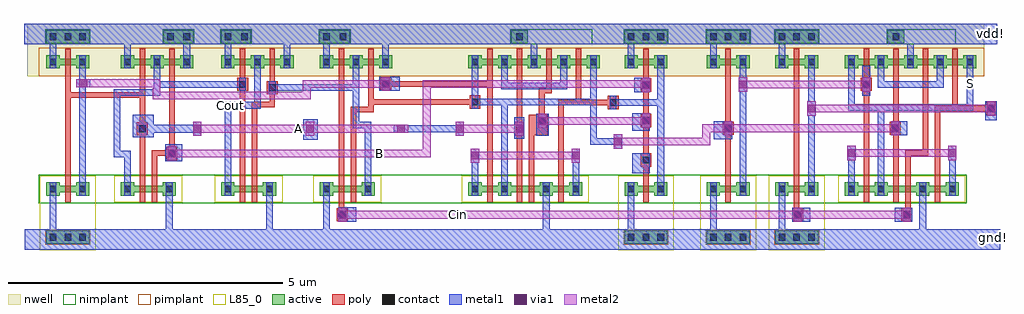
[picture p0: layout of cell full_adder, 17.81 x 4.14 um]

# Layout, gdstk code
from math import pi, radians
import gdstk
lib = gdstk.Library(unit=1e-6, precision=5e-10)
def R(c, l, rs):  # rectangles x0, y0, x1, y1
    for r in rs: c.add(gdstk.rectangle(r[:2], r[2:], *l))
def A(c, l, x, y, w, h, nx, ny, dx, dy):  # array of equal rectangles
    R(c, l, [(x+i*dx, y+j*dy, x+i*dx+w, y+j*dy+h) for i in range(nx) for j in range(ny)])
active = (1, 0)
nwell = (2, 0)
poly = (3, 0)
nimplant = (4, 0)
pimplant = (5, 0)
contact = (6, 0)
metal1 = (7, 0)
via1 = (8, 0)
metal2 = (9, 0)
L85_0 = (85, 0)

pmos1v_0 = lib.new_cell('pmos1v_0')
A(pmos1v_0, active, -0.1, 0, 0.1, 0.12, 3, 1, 0.1, 0)
R(pmos1v_0, active, [(-0.34,-0.06,-0.1,0.18), (0.2,-0.06,0.44,0.18)])
R(pmos1v_0, nwell, [(-0.46,-0.18,0.56,0.3)])
R(pmos1v_0, poly, [(0,-0.18,0.1,-0.16), (0,-0.16,0.1,0), (0,0,0.1,0.12), (0,0.12,0.1,0.28), (0,0.28,0.1,0.3)])
R(pmos1v_0, pimplant, [(-0.48,-0.2,0.58,0.32), (-0.18,-0.18,0.28,0.3)])
R(pmos1v_0, contact, [(-0.28,0,-0.16,0.12), (0.26,0,0.38,0.12)])
R(pmos1v_0, metal1, [(-0.28,-0.06,-0.16,0.18), (0.26,-0.06,0.38,0.18)])

nmos1v_1 = lib.new_cell('nmos1v_1')
R(nmos1v_1, active, [(0.2,-0.06,0.44,0.18), (-0.06,0,0,0.12), (0,0,0.1,0.12), (0.1,0,0.2,0.12)])
R(nmos1v_1, poly, [(0,-0.18,0.1,-0.16), (0,-0.16,0.1,0), (0,0,0.1,0.12), (0,0.12,0.1,0.28), (0,0.28,0.1,0.3)])
R(nmos1v_1, nimplant, [(-0.2,-0.2,0.58,0.32), (-0.18,-0.18,0.28,0.3)])
R(nmos1v_1, contact, [(0.26,0,0.38,0.12)])
R(nmos1v_1, metal1, [(0.26,-0.06,0.38,0.18)])
R(nmos1v_1, L85_0, [(-0.18,-0.18,0.56,0.3)])

pmos1v_2 = lib.new_cell('pmos1v_2')
A(pmos1v_2, active, -0.1, 0, 0.1, 0.12, 3, 1, 0.1, 0)
R(pmos1v_2, active, [(-0.34,-0.06,-0.1,0.18), (-0.34,0.4,0.2,0.64)])
R(pmos1v_2, nwell, [(-0.46,-0.18,0.32,0.76)])
R(pmos1v_2, poly, [(0,-0.18,0.1,-0.16), (0,-0.16,0.1,0), (0,0,0.1,0.12), (0,0.12,0.1,0.28), (0,0.28,0.1,0.3)])
R(pmos1v_2, nimplant, [(-0.36,0.38,0.22,0.66)])
R(pmos1v_2, pimplant, [(-0.48,-0.2,0.34,0.32), (-0.18,-0.18,0.28,0.3)])
R(pmos1v_2, contact, [(-0.28,0,-0.16,0.12), (-0.28,0.46,-0.16,0.58), (0.02,0.46,0.14,0.58)])
R(pmos1v_2, metal1, [(-0.28,-0.06,-0.16,0.18), (-0.34,0.46,0.2,0.58)])

pmos1v_3 = lib.new_cell('pmos1v_3')
A(pmos1v_3, active, -0.1, 0, 0.1, 0.12, 3, 1, 0.1, 0)
R(pmos1v_3, active, [(-0.34,-0.06,-0.1,0.18), (0.2,-0.06,0.44,0.18), (-0.34,0.4,0.44,0.64)])
R(pmos1v_3, nwell, [(-0.46,-0.18,0.56,0.76)])
R(pmos1v_3, poly, [(0,-0.18,0.1,-0.16), (0,-0.16,0.1,0), (0,0,0.1,0.12), (0,0.12,0.1,0.28), (0,0.28,0.1,0.3)])
R(pmos1v_3, nimplant, [(-0.36,0.38,0.46,0.66)])
R(pmos1v_3, pimplant, [(-0.48,-0.2,0.58,0.32), (-0.18,-0.18,0.28,0.3)])
A(pmos1v_3, contact, -0.28, 0.46, 0.12, 0.12, 3, 1, 0.27, 0)
R(pmos1v_3, contact, [(-0.28,0,-0.16,0.12), (0.26,0,0.38,0.12)])
R(pmos1v_3, metal1, [(-0.28,-0.06,-0.16,0.18), (0.26,-0.06,0.38,0.18), (-0.34,0.46,0.44,0.58)])

nmos1v_4 = lib.new_cell('nmos1v_4')
R(nmos1v_4, active, [(-0.34,-0.06,-0.1,0.18), (-0.1,0,0,0.12), (0,0,0.1,0.12), (0.1,0,0.16,0.12)])
R(nmos1v_4, poly, [(0,-0.18,0.1,-0.16), (0,-0.16,0.1,0), (0,0,0.1,0.12), (0,0.12,0.1,0.28), (0,0.28,0.1,0.3)])
R(nmos1v_4, nimplant, [(-0.48,-0.2,0.3,0.32), (-0.18,-0.18,0.28,0.3)])
R(nmos1v_4, contact, [(-0.28,0,-0.16,0.12)])
R(nmos1v_4, metal1, [(-0.28,-0.06,-0.16,0.18)])
R(nmos1v_4, L85_0, [(-0.46,-0.18,0.28,0.3)])

nmos1v_5 = lib.new_cell('nmos1v_5')
A(nmos1v_5, active, -0.1, 0, 0.1, 0.12, 3, 1, 0.1, 0)
R(nmos1v_5, active, [(-0.34,-0.94,0.44,-0.7), (-0.34,-0.06,-0.1,0.18), (0.2,-0.06,0.44,0.18)])
R(nmos1v_5, poly, [(0,-0.18,0.1,-0.16), (0,-0.16,0.1,0), (0,0,0.1,0.12), (0,0.12,0.1,0.28), (0,0.28,0.1,0.3)])
R(nmos1v_5, nimplant, [(-0.48,-0.2,0.58,0.32), (-0.18,-0.18,0.28,0.3)])
R(nmos1v_5, pimplant, [(-0.36,-0.96,0.46,-0.68)])
A(nmos1v_5, contact, -0.28, -0.88, 0.12, 0.12, 3, 1, 0.27, 0)
R(nmos1v_5, contact, [(-0.28,0,-0.16,0.12), (0.26,0,0.38,0.12)])
R(nmos1v_5, metal1, [(-0.34,-0.88,0.44,-0.76), (-0.28,-0.06,-0.16,0.18), (0.26,-0.06,0.38,0.18)])
R(nmos1v_5, L85_0, [(-0.46,-1.06,0.56,0.3)])

pmos1v_6 = lib.new_cell('pmos1v_6')
A(pmos1v_6, active, -0.1, 0, 0.1, 0.12, 3, 1, 0.1, 0)
R(pmos1v_6, active, [(-0.34,-0.06,-0.1,0.18), (0.2,-0.06,0.44,0.18)])
R(pmos1v_6, nwell, [(-0.46,-0.18,0.56,0.3)])
R(pmos1v_6, poly, [(0,-0.18,0.1,-0.16), (0,-0.16,0.1,0), (0,0,0.1,0.12), (0,0.12,0.1,0.28), (0,0.28,0.1,0.3)])
R(pmos1v_6, pimplant, [(-0.48,-0.2,0.58,0.32), (-0.18,-0.18,0.28,0.3)])
R(pmos1v_6, contact, [(-0.28,0,-0.16,0.12), (0.26,0,0.38,0.12)])
R(pmos1v_6, metal1, [(-0.28,-0.06,-0.16,0.18), (0.26,-0.06,0.38,0.18)])

pmos1v_7 = lib.new_cell('pmos1v_7')
A(pmos1v_7, active, -0.1, 0, 0.1, 0.12, 3, 1, 0.1, 0)
R(pmos1v_7, active, [(-0.1,0.4,0.2,0.64)])
R(pmos1v_7, nwell, [(-0.22,-0.18,0.32,0.76)])
R(pmos1v_7, poly, [(0,-0.18,0.1,-0.16), (0,-0.16,0.1,0), (0,0,0.1,0.12), (0,0.12,0.1,0.28), (0,0.28,0.1,0.3)])
R(pmos1v_7, nimplant, [(-0.12,0.38,0.22,0.66)])
R(pmos1v_7, pimplant, [(-0.24,-0.2,0.34,0.32), (-0.18,-0.18,0.28,0.3)])
R(pmos1v_7, contact, [(-0.01,0.46,0.11,0.58)])
R(pmos1v_7, metal1, [(-0.1,0.46,0.2,0.58)])

nmos1v_8 = lib.new_cell('nmos1v_8')
R(nmos1v_8, active, [(-0.34,-0.06,-0.1,0.18), (-0.1,0,0,0.12), (0,0,0.1,0.12), (0.1,0,0.16,0.12)])
R(nmos1v_8, poly, [(0,-0.18,0.1,-0.16), (0,-0.16,0.1,0), (0,0,0.1,0.12), (0,0.12,0.1,0.28), (0,0.28,0.1,0.3)])
R(nmos1v_8, nimplant, [(-0.48,-0.2,0.3,0.32), (-0.18,-0.18,0.28,0.3)])
R(nmos1v_8, contact, [(-0.28,0,-0.16,0.12)])
R(nmos1v_8, metal1, [(-0.28,-0.06,-0.16,0.18)])
R(nmos1v_8, L85_0, [(-0.46,-0.18,0.28,0.3)])

nmos1v_9 = lib.new_cell('nmos1v_9')
R(nmos1v_9, active, [(-0.34,-0.06,-0.1,0.18), (-0.1,0,0,0.12), (0,0,0.1,0.12), (0.1,0,0.16,0.12)])
R(nmos1v_9, poly, [(0,-0.18,0.1,-0.16), (0,-0.16,0.1,0), (0,0,0.1,0.12), (0,0.12,0.1,0.28), (0,0.28,0.1,0.3)])
R(nmos1v_9, nimplant, [(-0.48,-0.2,0.3,0.32), (-0.18,-0.18,0.28,0.3)])
R(nmos1v_9, contact, [(-0.28,0,-0.16,0.12)])
R(nmos1v_9, metal1, [(-0.28,-0.06,-0.16,0.18)])
R(nmos1v_9, L85_0, [(-0.46,-0.18,0.28,0.3)])

pmos1v_10 = lib.new_cell('pmos1v_10')
A(pmos1v_10, active, -0.1, 0, 0.1, 0.12, 3, 1, 0.1, 0)
R(pmos1v_10, active, [(-0.34,-0.06,-0.1,0.18), (0.2,-0.06,0.44,0.18)])
R(pmos1v_10, nwell, [(-0.46,-0.18,0.56,0.3)])
R(pmos1v_10, poly, [(0,-0.18,0.1,-0.16), (0,-0.16,0.1,0), (0,0,0.1,0.12), (0,0.12,0.1,0.28), (0,0.28,0.1,0.3)])
R(pmos1v_10, pimplant, [(-0.48,-0.2,0.58,0.32), (-0.18,-0.18,0.28,0.3)])
R(pmos1v_10, contact, [(-0.28,0,-0.16,0.12), (0.26,0,0.38,0.12)])
R(pmos1v_10, metal1, [(-0.28,-0.06,-0.16,0.18), (0.26,-0.06,0.38,0.18)])

pmos1v_11 = lib.new_cell('pmos1v_11')
A(pmos1v_11, active, -0.1, 0, 0.1, 0.12, 3, 1, 0.1, 0)
R(pmos1v_11, active, [(0.2,-0.06,0.44,0.18)])
R(pmos1v_11, nwell, [(-0.22,-0.18,0.56,0.3)])
R(pmos1v_11, poly, [(0,-0.18,0.1,-0.16), (0,-0.16,0.1,0), (0,0,0.1,0.12), (0,0.12,0.1,0.28), (0,0.28,0.1,0.3)])
R(pmos1v_11, pimplant, [(-0.24,-0.2,0.58,0.32), (-0.18,-0.18,0.28,0.3)])
R(pmos1v_11, contact, [(0.26,0,0.38,0.12)])
R(pmos1v_11, metal1, [(0.26,-0.06,0.38,0.18)])

pmos1v_12 = lib.new_cell('pmos1v_12')
A(pmos1v_12, active, -0.1, 0, 0.1, 0.12, 3, 1, 0.1, 0)
R(pmos1v_12, active, [(-0.34,-0.06,-0.1,0.18), (0.2,-0.06,0.44,0.18)])
R(pmos1v_12, nwell, [(-0.46,-0.18,0.56,0.3)])
R(pmos1v_12, poly, [(0,-0.18,0.1,-0.16), (0,-0.16,0.1,0), (0,0,0.1,0.12), (0,0.12,0.1,0.28), (0,0.28,0.1,0.3)])
R(pmos1v_12, pimplant, [(-0.48,-0.2,0.58,0.32), (-0.18,-0.18,0.28,0.3)])
R(pmos1v_12, contact, [(-0.28,0,-0.16,0.12), (0.26,0,0.38,0.12)])
R(pmos1v_12, metal1, [(-0.28,-0.06,-0.16,0.18), (0.26,-0.06,0.38,0.18)])

nmos1v_13 = lib.new_cell('nmos1v_13')
A(nmos1v_13, active, -0.1, 0, 0.1, 0.12, 3, 1, 0.1, 0)
R(nmos1v_13, active, [(-0.34,-0.06,-0.1,0.18)])
R(nmos1v_13, poly, [(0,-0.18,0.1,-0.16), (0,-0.16,0.1,0), (0,0,0.1,0.12), (0,0.12,0.1,0.28), (0,0.28,0.1,0.3)])
R(nmos1v_13, nimplant, [(-0.48,-0.2,0.34,0.32), (-0.18,-0.18,0.28,0.3)])
R(nmos1v_13, contact, [(-0.28,0,-0.16,0.12)])
R(nmos1v_13, metal1, [(-0.28,-0.06,-0.16,0.18)])
R(nmos1v_13, L85_0, [(-0.46,-0.18,0.32,0.3)])

nmos1v_14 = lib.new_cell('nmos1v_14')
A(nmos1v_14, active, -0.1, 0, 0.1, 0.12, 3, 1, 0.1, 0)
R(nmos1v_14, active, [(0.2,-0.06,0.44,0.18)])
R(nmos1v_14, poly, [(0,-0.18,0.1,-0.16), (0,-0.16,0.1,0), (0,0,0.1,0.12), (0,0.12,0.1,0.28), (0,0.28,0.1,0.3)])
R(nmos1v_14, nimplant, [(-0.24,-0.2,0.58,0.32), (-0.18,-0.18,0.28,0.3)])
R(nmos1v_14, contact, [(0.26,0,0.38,0.12)])
R(nmos1v_14, metal1, [(0.26,-0.06,0.38,0.18)])
R(nmos1v_14, L85_0, [(-0.22,-0.18,0.56,0.3)])

nmos1v_15 = lib.new_cell('nmos1v_15')
R(nmos1v_15, active, [(0.2,-0.06,0.44,0.18), (-0.06,0,0,0.12), (0,0,0.1,0.12), (0.1,0,0.2,0.12)])
R(nmos1v_15, poly, [(0,-0.18,0.1,-0.16), (0,-0.16,0.1,0), (0,0,0.1,0.12), (0,0.12,0.1,0.28), (0,0.28,0.1,0.3)])
R(nmos1v_15, nimplant, [(-0.2,-0.2,0.58,0.32), (-0.18,-0.18,0.28,0.3)])
R(nmos1v_15, contact, [(0.26,0,0.38,0.12)])
R(nmos1v_15, metal1, [(0.26,-0.06,0.38,0.18)])
R(nmos1v_15, L85_0, [(-0.18,-0.18,0.56,0.3)])

m2_m1v_0 = lib.new_cell('M2_M1v_0')
R(m2_m1v_0, metal1, [(-0.075,-0.13,0.075,0.13)])
R(m2_m1v_0, via1, [(-0.07,-0.07,0.07,0.07)])
R(m2_m1v_0, metal2, [(-0.075,-0.13,0.075,0.13)])

m1_pov_1 = lib.new_cell('M1_POv_1')
R(m1_pov_1, poly, [(-0.1,-0.12,0.1,0.12)])
R(m1_pov_1, contact, [(-0.06,-0.06,0.06,0.06)])
R(m1_pov_1, metal1, [(-0.06,-0.12,0.06,0.12)])

full_adder = lib.new_cell('full_adder')
R(full_adder, nwell, [(-11.87,-2.36,5.59,-1.4), (-11.66,-2.36,5.3,-1.84)])
R(full_adder, poly, [(-6.19,-4.93,-6.09,-4.16), (2.12,-4.93,2.22,-4.44), (4.15,-4.93,4.25,-4.39), (-6.19,-4.68,-6.09,-1.86), (-11.18,-4.66,-11.08,-1.86), (-9.82,-4.66,-9.72,-1.86), (-9.6,-4.66,-9.5,-3.71), (-7.99,-4.66,-7.89,-1.86), (-7.77,-4.66,-7.67,-2.83), (-5.97,-4.66,-5.87,-2.92), (-3.48,-4.66,-3.38,-1.86), (-2.94,-4.66,-2.84,-1.86), (-2.72,-4.66,-2.62,-3.11), (-2.18,-4.66,-2.08,-2.79), (-0.63,-4.66,-0.53,-1.86), (0.87,-4.66,0.97,-1.86), (2.12,-4.66,2.22,-1.86), (3.39,-4.66,3.49,-1.86), (3.93,-4.66,4.03,-1.86), (4.15,-4.66,4.25,-3.71), (4.69,-4.66,4.79,-2.9), (-9.6,-3.81,-9.18,-3.71), (-9.28,-3.81,-9.18,-1.86), (4.15,-3.81,4.57,-3.71), (4.47,-3.81,4.57,-1.86), (-2.72,-3.44,-2.37,-3.06), (-2.72,-3.44,-2.57,-3.25), (-2.72,-3.25,-2.4,-3.11), (-2.54,-3.25,-2.43,-2.57), (-5.97,-3.02,-5.55,-2.92), (-5.65,-3.02,-5.55,-1.86), (4.69,-3,5.79,-2.9), (5.01,-3,5.11,-1.86), (-7.77,-2.93,-7.35,-2.83), (-7.45,-2.93,-7.35,-1.86), (-2.18,-2.89,-1.12,-2.79), (-1.86,-2.89,-1.76,-1.86), (-5.65,-2.88,-3.64,-2.78), (-11.18,-2.75,-9.72,-2.65), (-2.54,-2.67,-2.3,-2.57), (-2.4,-2.67,-2.3,-1.86), (-5.39,-2.55,-3.38,-2.45)])
R(full_adder, nimplant, [(-11.66,-4.68,5.27,-4.16), (-3.06,-1.78,-1.56,-1.5), (3.81,-1.78,5.07,-1.5)])
R(full_adder, pimplant, [(-11.66,-2.36,4.39,-1.84)])
R(full_adder, metal1, [(-11.92,-5.53,5.88,-5.15), (-9.34,-5.42,-9.22,-4.31), (-7.51,-5.42,-7.39,-4.3), (-6.47,-5.42,-6.35,-4.3), (-2.46,-5.42,-2.34,-4.3), (4.41,-5.42,4.53,-4.3), (5.71,-5.34,5.83,-5.22), (-11.46,-5.24,-11.34,-4.82), (-0.91,-5.24,-0.79,-4.3), (0.59,-5.24,0.71,-4.3), (1.84,-5.24,1.96,-4.3), (-6.2,-5.02,-5.87,-4.75), (2.09,-5.02,2.42,-4.76), (3.96,-5.02,4.28,-4.76), (-11.46,-4.94,-11.34,-4.3), (2.11,-4.94,2.23,-4.82), (-10.92,-4.54,-10.8,-1.98), (-10.1,-4.54,-9.98,-3.72), (-8.27,-4.54,-8.15,-2.83), (-5.71,-4.54,-5.59,-3.19), (-3.76,-4.54,-3.64,-3.74), (-3.22,-4.54,-3.1,-2.77), (-1.92,-4.54,-1.8,-3.74), (-0.37,-4.54,-0.25,-1.98), (1.13,-4.54,1.25,-1.98), (2.38,-4.54,2.5,-1.98), (3.11,-4.54,3.23,-3.69), (3.65,-4.54,3.77,-2.87), (4.95,-4.54,5.07,-3.69), (-0.83,-4.13,-0.51,-3.77), (-0.64,-3.95,-0.52,-3.83), (-9.35,-3.91,-9.04,-3.6), (-10.29,-3.84,-10.17,-2.6), (-10.29,-3.84,-9.98,-3.72), (-1.6,-3.61,-1.02,-3.49), (-1.6,-3.61,-1.48,-2.66), (-6.83,-3.52,-6.57,-3.15), (0.66,-3.51,0.99,-3.18), (-2.98,-3.5,-2.8,-3.11), (-9.95,-3.47,-9.56,-3.06), (-2.58,-3.45,-2.35,-3.05), (3.9,-3.44,4.19,-3.18), (-9.82,-3.39,-8.71,-3.25), (-5.12,-3.38,-3.91,-3.26), (-6.78,-3.37,-6.66,-3.25), (-0.83,-3.36,-0.51,-3.04), (-5.93,-3.31,-5.59,-3.19), (-5.93,-3.31,-5.81,-1.98), (5.61,-3.16,5.82,-2.82), (3.65,-3.11,3.77,-2.99), (3.11,-2.99,5.39,-2.87), (3.11,-2.99,3.23,-1.98), (5.27,-2.99,5.39,-1.98), (-8.27,-2.95,-7.61,-2.83), (-8.27,-2.95,-8.15,-2.83), (-7.73,-2.95,-7.61,-1.98), (-1.24,-2.9,-0.25,-2.78), (-3.76,-2.89,-1.48,-2.77), (-3.76,-2.83,-3.64,-1.98), (-1.6,-2.83,-1.48,-1.98), (-10.29,-2.72,-9.44,-2.6), (-9.56,-2.72,-9.44,-1.98), (3.37,-2.72,3.51,-2.17), (-0.79,-2.65,-0.51,-2.39), (-7.46,-2.63,-5.81,-2.51), (-5.45,-2.63,-5.07,-2.37), (-3.22,-2.6,-3.1,-1.98), (-3.22,-2.6,-2.02,-2.48), (-2.14,-2.6,-2.02,-1.98), (-9.56,-2.57,-7.88,-2.45), (3.65,-2.57,4.85,-2.45), (3.65,-2.57,3.77,-1.98), (4.73,-2.57,4.85,-1.98), (-11.46,-2.22,-11.34,-1.58), (-10.1,-2.22,-9.98,-1.4), (-9.02,-2.22,-8.9,-1.58), (-8.27,-2.22,-8.15,-1.58), (-7.19,-2.22,-7.07,-1.4), (-6.47,-2.22,-6.35,-1.58), (-5.39,-2.22,-5.27,-1.4), (-2.68,-2.22,-2.56,-1.4), (-0.91,-2.22,-0.79,-1.58), (0.59,-2.22,0.71,-1.58), (1.84,-2.22,1.96,-1.58), (4.19,-2.22,4.31,-1.4), (-11.93,-1.78,5.83,-1.4), (5.64,-1.67,5.76,-1.55)])
R(full_adder, metal2, [(-6.21,-4.96,4.25,-4.82), (-3.76,-3.88,-1.8,-3.74), (-9.3,-3.84,-4.51,-3.7), (-4.65,-3.84,-4.51,-2.43), (3.11,-3.83,5.08,-3.69), (-1.16,-3.62,0.59,-3.48), (0.45,-3.62,0.59,-3.24), (-8.84,-3.39,-4.98,-3.25), (-4.05,-3.39,-2.83,-3.25), (0.45,-3.38,4.04,-3.24), (-2.54,-3.25,-0.52,-3.11), (2.37,-3.02,5.79,-2.88), (-9.58,-2.78,-9.44,-2.42), (-9.56,-2.78,-6.7,-2.64), (-6.84,-2.78,-6.7,-2.43), (1.12,-2.58,3.51,-2.44), (-6.84,-2.57,-5.27,-2.43), (-4.65,-2.57,-0.51,-2.43), (-10.92,-2.56,-9.44,-2.42)])
full_adder.add(gdstk.Reference(pmos1v_0, (-7.35,-2.16), rotation=pi, x_reflection=True))
full_adder.add(gdstk.Reference(pmos1v_0, (-5.55,-2.16), rotation=pi, x_reflection=True))
full_adder.add(gdstk.Reference(pmos1v_0, (-9.82,-2.16)))
full_adder.add(gdstk.Reference(nmos1v_1, (-7.89,-4.48), rotation=pi, x_reflection=True))
full_adder.add(gdstk.Reference(nmos1v_1, (-9.6,-4.36), x_reflection=True))
full_adder.add(gdstk.Reference(pmos1v_2, (-7.99,-2.16)))
full_adder.add(gdstk.Reference(pmos1v_2, (-6.19,-2.16)))
full_adder.add(gdstk.Reference(pmos1v_2, (-9.18,-2.16), rotation=pi, x_reflection=True))
full_adder.add(gdstk.Reference(pmos1v_3, (0.87,-2.16)))
full_adder.add(gdstk.Reference(pmos1v_3, (2.12,-2.16)))
full_adder.add(gdstk.Reference(pmos1v_3, (-11.18,-2.16)))
full_adder.add(gdstk.Reference(pmos1v_3, (-0.63,-2.16)))
full_adder.add(gdstk.Reference(nmos1v_4, (-7.67,-4.48), rotation=pi, x_reflection=True))
full_adder.add(gdstk.Reference(nmos1v_4, (-9.82,-4.36), x_reflection=True))
full_adder.add(gdstk.Reference(nmos1v_5, (0.87,-4.48)))
full_adder.add(gdstk.Reference(nmos1v_5, (2.12,-4.48)))
full_adder.add(gdstk.Reference(nmos1v_5, (-11.18,-4.48)))
full_adder.add(gdstk.Reference(nmos1v_5, (-0.63,-4.48)))
full_adder.add(gdstk.Reference(pmos1v_6, (-2.4,-2.16)))
full_adder.add(gdstk.Reference(pmos1v_7, (4.03,-2.16), rotation=pi, x_reflection=True))
full_adder.add(gdstk.Reference(pmos1v_7, (-2.84,-2.16), rotation=pi, x_reflection=True))
full_adder.add(gdstk.Reference(nmos1v_8, (4.25,-4.48), rotation=pi, x_reflection=True))
full_adder.add(gdstk.Reference(nmos1v_8, (-2.62,-4.48), rotation=pi, x_reflection=True))
full_adder.add(gdstk.Reference(nmos1v_9, (-6.19,-4.48)))
full_adder.add(gdstk.Reference(nmos1v_9, (-5.87,-4.48), rotation=pi, x_reflection=True))
full_adder.add(gdstk.Reference(pmos1v_10, (4.47,-2.16)))
full_adder.add(gdstk.Reference(pmos1v_11, (5.01,-2.16)))
full_adder.add(gdstk.Reference(pmos1v_11, (-1.86,-2.16)))
full_adder.add(gdstk.Reference(pmos1v_12, (3.49,-2.16), rotation=pi, x_reflection=True))
full_adder.add(gdstk.Reference(pmos1v_12, (-3.38,-2.16), rotation=pi, x_reflection=True))
full_adder.add(gdstk.Reference(nmos1v_13, (3.39,-4.48)))
full_adder.add(gdstk.Reference(nmos1v_13, (-3.48,-4.48)))
full_adder.add(gdstk.Reference(nmos1v_14, (4.69,-4.48)))
full_adder.add(gdstk.Reference(nmos1v_14, (-2.18,-4.48)))
full_adder.add(gdstk.Reference(nmos1v_15, (4.03,-4.48), rotation=pi, x_reflection=True))
full_adder.add(gdstk.Reference(nmos1v_15, (-2.84,-4.48), rotation=pi, x_reflection=True))
full_adder.add(gdstk.Reference(m2_m1v_0, (5.72,-2.95)))
full_adder.add(gdstk.Reference(m2_m1v_0, (2.44,-2.95)))
full_adder.add(gdstk.Reference(m2_m1v_0, (3.44,-2.51)))
full_adder.add(gdstk.Reference(m2_m1v_0, (1.19,-2.51)))
full_adder.add(gdstk.Reference(m2_m1v_0, (-8.77,-3.32)))
full_adder.add(gdstk.Reference(m2_m1v_0, (-1.09,-3.55)))
full_adder.add(gdstk.Reference(m2_m1v_0, (-2.47,-3.18)))
full_adder.add(gdstk.Reference(m2_m1v_0, (-0.58,-3.17)))
full_adder.add(gdstk.Reference(m2_m1v_0, (0.92,-3.31)))
full_adder.add(gdstk.Reference(m2_m1v_0, (3.97,-3.31)))
full_adder.add(gdstk.Reference(m2_m1v_0, (-0.58,-2.52)))
full_adder.add(gdstk.Reference(m2_m1v_0, (-5.33,-2.5)))
full_adder.add(gdstk.Reference(m2_m1v_0, (-9.23,-3.77)))
full_adder.add(gdstk.Reference(m2_m1v_0, (4.18,-4.89), rotation=pi))
full_adder.add(gdstk.Reference(m2_m1v_0, (2.19,-4.89), rotation=pi))
full_adder.add(gdstk.Reference(m2_m1v_0, (-6.12,-4.89), rotation=pi))
full_adder.add(gdstk.Reference(m2_m1v_0, (-3.98,-3.32)))
full_adder.add(gdstk.Reference(m2_m1v_0, (-5.05,-3.32), rotation=3*pi/2))
full_adder.add(gdstk.Reference(m2_m1v_0, (-6.71,-3.32)))
full_adder.add(gdstk.Reference(m2_m1v_0, (-2.89,-3.32), rotation=pi))
full_adder.add(gdstk.Reference(m2_m1v_0, (-10.85,-2.49), rotation=pi/2))
full_adder.add(gdstk.Reference(m2_m1v_0, (-1.86,-3.81)))
full_adder.add(gdstk.Reference(m2_m1v_0, (3.17,-3.76)))
full_adder.add(gdstk.Reference(m2_m1v_0, (5.01,-3.76)))
full_adder.add(gdstk.Reference(m2_m1v_0, (-3.7,-3.81)))
full_adder.add(gdstk.Reference(m1_pov_1, (5.72,-2.95)))
full_adder.add(gdstk.Reference(m1_pov_1, (3.44,-2.51)))
full_adder.add(gdstk.Reference(m1_pov_1, (0.92,-3.31)))
full_adder.add(gdstk.Reference(m1_pov_1, (3.97,-3.31)))
full_adder.add(gdstk.Reference(m1_pov_1, (-0.58,-3.89)))
full_adder.add(gdstk.Reference(m1_pov_1, (4.18,-4.89), rotation=pi))
full_adder.add(gdstk.Reference(m1_pov_1, (2.19,-4.89), rotation=pi))
full_adder.add(gdstk.Reference(m1_pov_1, (-6.12,-4.89), rotation=pi))
full_adder.add(gdstk.Reference(m1_pov_1, (-1.18,-2.84)))
full_adder.add(gdstk.Reference(m1_pov_1, (-9.23,-3.77)))
full_adder.add(gdstk.Reference(m1_pov_1, (-0.58,-2.52)))
full_adder.add(gdstk.Reference(m1_pov_1, (-0.58,-3.17)))
full_adder.add(gdstk.Reference(m1_pov_1, (-2.47,-3.18)))
full_adder.add(gdstk.Reference(m1_pov_1, (-9.77,-3.32)))
full_adder.add(gdstk.Reference(m1_pov_1, (-5.33,-2.5)))
full_adder.add(gdstk.Reference(m1_pov_1, (-7.4,-2.57)))
full_adder.add(gdstk.Reference(m1_pov_1, (-7.94,-2.51)))
full_adder.add(gdstk.Reference(m1_pov_1, (-3.7,-2.83)))
full_adder.add(gdstk.Label('vdd!', (5.7,-1.58), layer=63, texttype=0))
full_adder.add(gdstk.Label('gnd!', (5.76,-5.3), layer=63, texttype=0))
full_adder.add(gdstk.Label('S', (5.34,-2.49), layer=63, texttype=0))
full_adder.add(gdstk.Label('Cout', (-8.17,-2.9), layer=63, texttype=0))
full_adder.add(gdstk.Label('A', (-6.92,-3.32), layer=63, texttype=0))
full_adder.add(gdstk.Label('B', (-5.44,-3.77), layer=63, texttype=0))
full_adder.add(gdstk.Label('Cin', (-4,-4.89), layer=63, texttype=0))

lib.write_gds('full_adder.gds')
